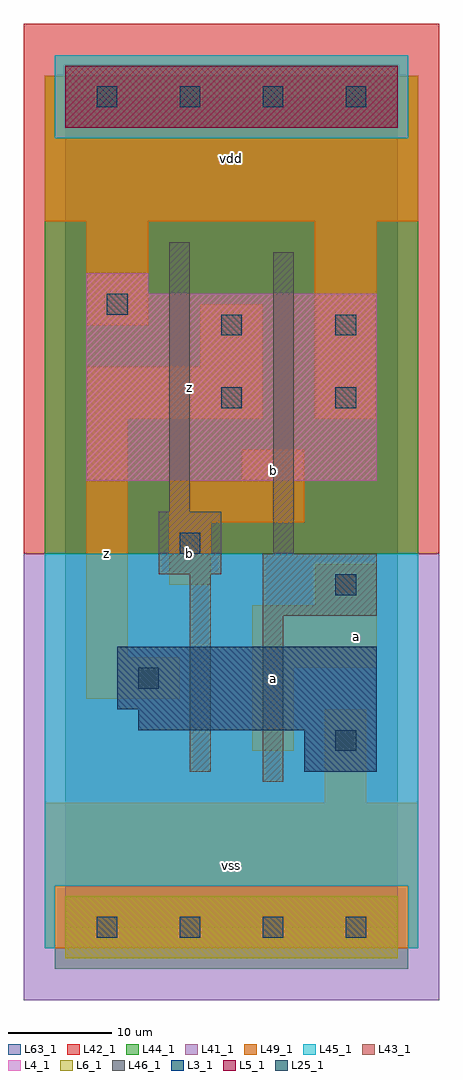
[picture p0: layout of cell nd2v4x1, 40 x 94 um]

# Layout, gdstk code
import gdstk
lib = gdstk.Library(unit=1e-6, precision=1e-09)
def R(c, l, rs):  # rectangles x0, y0, x1, y1
    for r in rs: c.add(gdstk.rectangle(r[:2], r[2:], *l))
def A(c, l, x, y, w, h, nx, ny, dx, dy):  # array of equal rectangles
    R(c, l, [(x+i*dx, y+j*dy, x+i*dx+w, y+j*dy+h) for i in range(nx) for j in range(ny)])
L3_1 = (3, 1)
L4_1 = (4, 1)
L5_1 = (5, 1)
L6_1 = (6, 1)
L25_1 = (25, 1)
L41_1 = (41, 1)
L42_1 = (42, 1)
L43_1 = (43, 1)
L44_1 = (44, 1)
L45_1 = (45, 1)
L46_1 = (46, 1)
L49_1 = (49, 1)
L63_1 = (63, 1)

nd2v4x1 = lib.new_cell('nd2v4x1')
R(nd2v4x1, L3_1, [(23,15,30,19), (7,19,30,21), (5,21,30,27)])
R(nd2v4x1, L4_1, [(2,43,30,61), (2,61,8,63)])
R(nd2v4x1, L5_1, [(0,77,32,83)])
R(nd2v4x1, L6_1, [(0,-3,32,3), (0,-3,32,3)])
A(nd2v4x1, L25_1, 3, -1, 2, 2, 4, 2, 8, 80)
R(nd2v4x1, L25_1, [(26,17,28,19), (7,23,9,25), (26,32,28,34), (11,36,13,38), (15,50,17,52), (26,50,28,52), (15,57,17,59), (26,57,28,59), (4,59,6,61)])
R(nd2v4x1, L41_1, [(-4,-7,36,36)])
R(nd2v4x1, L42_1, [(-4,36,36,87)])
R(nd2v4x1, L43_1, [(0,-3,32,3), (23,15,30,19), (7,19,30,21), (5,21,30,27), (2,43,30,61), (2,61,8,63), (0,77,32,83)])
R(nd2v4x1, L44_1, [(-1,-4,33,4), (-2,36,34,76), (-2,76,-1,82), (33,76,34,82)])
R(nd2v4x1, L45_1, [(-2,-2,-1,4), (33,-2,34,4), (-2,4,34,36), (-1,76,33,84)])
R(nd2v4x1, L46_1, [(19,14,21,30), (12,15,14,34), (19,30,30,36), (9,34,15,40), (20,36,22,65), (10,40,12,66)])
R(nd2v4x1, L49_1, [(-2,-2,34,12), (25,12,29,21), (18,17,22,25), (2,22,11,26), (18,25,30,31), (2,26,6,49), (24,31,30,35), (10,33,14,39), (10,39,23,43), (17,43,23,46), (2,49,19,54), (24,49,30,68), (13,54,19,60), (2,58,8,68), (-2,68,34,82)])
R(nd2v4x1, L63_1, [(0,0,32,80)])
nd2v4x1.add(gdstk.Label('z', (4,36), layer=49, texttype=1))
nd2v4x1.add(gdstk.Label('b', (12,36), layer=49, texttype=1))
nd2v4x1.add(gdstk.Label('z', (12,52), layer=49, texttype=1))
nd2v4x1.add(gdstk.Label('vss', (16,6), layer=49, texttype=1))
nd2v4x1.add(gdstk.Label('a', (20,24), layer=49, texttype=1))
nd2v4x1.add(gdstk.Label('b', (20,44), layer=49, texttype=1))
nd2v4x1.add(gdstk.Label('vdd', (16,74), layer=49, texttype=1))
nd2v4x1.add(gdstk.Label('a', (28,28), layer=49, texttype=1))

lib.write_gds('nd2v4x1.gds')
